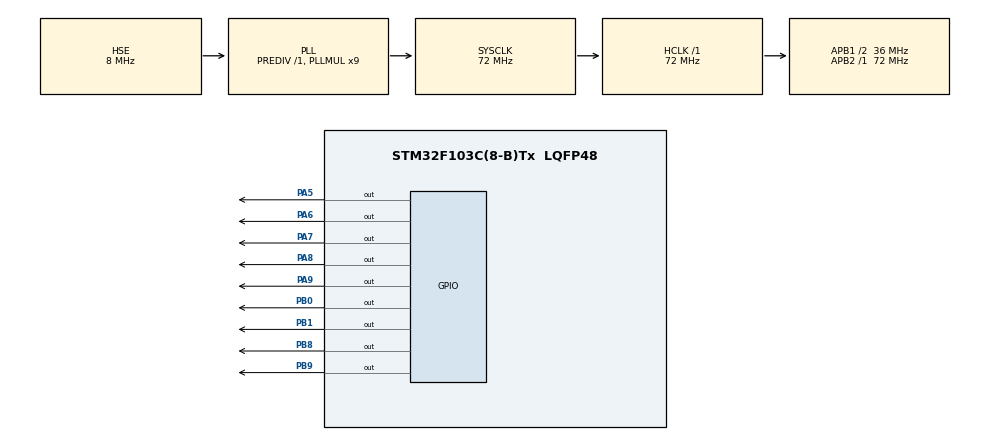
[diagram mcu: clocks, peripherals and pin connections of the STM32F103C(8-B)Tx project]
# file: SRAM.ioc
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Mcu.Family=STM32F1
Mcu.Name=STM32F103C(8-B)Tx
Mcu.Package=LQFP48
NVIC.PriorityGroup=NVIC_PRIORITYGROUP_4
PA13.Mode=Serial_Wire
PA13.Signal=SYS_JTMS-SWDIO
PA14.Mode=Serial_Wire
PA14.Signal=SYS_JTCK-SWCLK
PA5.Signal=GPIO_Output
PA6.Signal=GPIO_Output
PA7.Signal=GPIO_Output
PA8.Signal=GPIO_Output
PA9.Signal=GPIO_Output
PB0.Signal=GPIO_Output
PB1.Signal=GPIO_Output
PB8.Signal=GPIO_Output
PB9.Signal=GPIO_Output
PD0-OSC_IN.Mode=HSE-External-Oscillator
PD0-OSC_IN.Signal=RCC_OSC_IN
PD1-OSC_OUT.Mode=HSE-External-Oscillator
PD1-OSC_OUT.Signal=RCC_OSC_OUT
ProjectManager.HeapSize=0x200
ProjectManager.StackSize=0x400
ProjectManager.TargetToolchain=MDK-ARM V5
RCC.AHBFreq_Value=72000000
RCC.APB1CLKDivider=RCC_HCLK_DIV2
RCC.APB1Freq_Value=36000000
RCC.APB1TimFreq_Value=72000000
RCC.APB2Freq_Value=72000000
RCC.APB2TimFreq_Value=72000000
RCC.HCLKFreq_Value=72000000
RCC.PLLMUL=RCC_PLL_MUL9
RCC.PLLSourceVirtual=RCC_PLLSOURCE_HSE
RCC.SYSCLKFreq_VALUE=72000000
RCC.SYSCLKSource=RCC_SYSCLKSOURCE_PLLCLK
RCC.USBFreq_Value=72000000
board=custom

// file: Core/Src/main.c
/* USER CODE BEGIN Header */
/**
  ******************************************************************************
  * @file           : main.c
  * @brief          : Main program body
  ******************************************************************************
  * @attention
  *
  * Copyright (c) 2025 STMicroelectronics.
  * All rights reserved.
  *
  * This software is licensed under terms that can be found in the LICENSE file
  * in the root directory of this software component.
  * If no LICENSE file comes with this software, it is provided AS-IS.
  *
  ******************************************************************************
  */
/* USER CODE END Header */
#include "main.h"

void SystemClock_Config(void);
static void MX_GPIO_Init(void);
/* USER CODE BEGIN PFP */
uint8_t SRAM_Data_Address;
uint8_t SRAM_Read_Data;

/* USER CODE END PFP */

/* USER CODE BEGIN 0 */
void SRAM_Set_Address(uint8_t addr)
{
	HAL_GPIO_WritePin(GPIOA, GPIO_PIN_5, (addr & 0x01) ? GPIO_PIN_SET : GPIO_PIN_RESET);
  HAL_GPIO_WritePin(GPIOA, GPIO_PIN_6, (addr & 0x02) ? GPIO_PIN_SET : GPIO_PIN_RESET);
  HAL_GPIO_WritePin(GPIOA, GPIO_PIN_7, (addr & 0x04) ? GPIO_PIN_SET : GPIO_PIN_RESET);
}

//=============CHANGE GPIO TO OUTPUT=============//
void SRAM_Write_Data(uint8_t data)
{
  HAL_GPIO_WritePin(GPIOA, GPIO_PIN_11, (data & 0x01) ? GPIO_PIN_SET : GPIO_PIN_RESET);
  HAL_GPIO_WritePin(GPIOA, GPIO_PIN_12, (data & 0x02) ? GPIO_PIN_SET : GPIO_PIN_RESET);
	HAL_GPIO_WritePin(GPIOA, GPIO_PIN_13, (data & 0x02) ? GPIO_PIN_SET : GPIO_PIN_RESET);
}

void SRAM_Write_Cycle(uint8_t address, uint8_t data)
{
  SRAM_Set_Address(address);
  SRAM_Write_Data(data);

  HAL_GPIO_WritePin(GPIOB, GPIO_PIN_0, GPIO_PIN_RESET); // !WE = 0 start write
  HAL_Delay(1);
  HAL_GPIO_WritePin(GPIOB, GPIO_PIN_0, GPIO_PIN_SET);   // !WE = 1 end write
  HAL_Delay(1);
}

//=============CHANGE GPIO TO INPUT=============//
uint8_t SRAM_ReadData(void)
{
  GPIO_InitTypeDef GPIO_InitStruct = {0};

  GPIO_InitStruct.Pin = GPIO_PIN_4 | GPIO_PIN_5 | GPIO_PIN_6;
  GPIO_InitStruct.Mode = GPIO_MODE_INPUT;
  GPIO_InitStruct.Pull = GPIO_NOPULL;
  HAL_GPIO_Init(GPIOB, &GPIO_InitStruct);

  uint8_t value = 0;
  value |= HAL_GPIO_ReadPin(GPIOB, GPIO_PIN_4) ? 0x01 : 0x00;
  value |= HAL_GPIO_ReadPin(GPIOB, GPIO_PIN_5) ? 0x02 : 0x00;
  value |= HAL_GPIO_ReadPin(GPIOB, GPIO_PIN_6) ? 0x04 : 0x00;

  GPIO_InitStruct.Mode = GPIO_MODE_OUTPUT_PP;
  GPIO_InitStruct.Speed = GPIO_SPEED_FREQ_LOW;
  HAL_GPIO_Init(GPIOB, &GPIO_InitStruct);

  return value;
}

uint8_t SRAM_Read_Cycle(uint8_t address)
{
  SRAM_Set_Address(address);

  HAL_GPIO_WritePin(GPIOB, GPIO_PIN_9, GPIO_PIN_SET);
  HAL_GPIO_WritePin(GPIOB, GPIO_PIN_8, GPIO_PIN_RESET);
  HAL_Delay(1);

  uint8_t data = SRAM_ReadData();

  HAL_GPIO_WritePin(GPIOB, GPIO_PIN_8, GPIO_PIN_SET);

  return data;
}

//=============CHECK SRAM COMMUNICATION=============//
void LED_Show(uint8_t data)
{
  HAL_GPIO_WritePin(GPIOB, GPIO_PIN_8, (data & 0x01) ? GPIO_PIN_SET : GPIO_PIN_RESET);
  HAL_GPIO_WritePin(GPIOB, GPIO_PIN_9, (data & 0x02) ? GPIO_PIN_SET : GPIO_PIN_RESET);
}

/* USER CODE END 0 */

int main(void)
{

  /* MCU Configuration--------------------------------------------------------*/

  /* Reset of all peripherals, Initializes the Flash interface and the Systick. */
  HAL_Init();

  /* Configure the system clock */
  SystemClock_Config();

  /* Initialize all configured peripherals */
  MX_GPIO_Init();
  /* USER CODE BEGIN 2 */
	//=============WRITE DATA TO SRAM=============//
	for (SRAM_Data_Address = 0; SRAM_Data_Address < 8; SRAM_Data_Address++)
	{
    uint8_t data = SRAM_Data_Address & 0x03;
    SRAM_Write_Cycle(SRAM_Data_Address, data);
    HAL_Delay(100);
  }

  /* USER CODE END 2 */

  /* Infinite loop */
  /* USER CODE BEGIN WHILE */
  while (1)
  {
		//=============READ DATA FROM SRAM=============//
		for (SRAM_Data_Address = 0; SRAM_Data_Address < 8; SRAM_Data_Address++)
		{
			SRAM_Set_Address(SRAM_Data_Address);
			SRAM_Read_Data = SRAM_Read_Cycle(SRAM_Data_Address);
																																																																																																						SRAM_Read_Data = SRAM_Data_Address & 0x03;
			LED_Show(SRAM_Read_Data);

			HAL_Delay(500);
		}
    /* USER CODE END WHILE */

  }
}

void SystemClock_Config(void)
{
  RCC_OscInitTypeDef RCC_OscInitStruct = {0};
  RCC_ClkInitTypeDef RCC_ClkInitStruct = {0};

  /** Initializes the RCC Oscillators according to the specified parameters
  * in the RCC_OscInitTypeDef structure.
  */
  RCC_OscInitStruct.OscillatorType = RCC_OSCILLATORTYPE_HSE;
  RCC_OscInitStruct.HSEState = RCC_HSE_ON;
  RCC_OscInitStruct.HSEPredivValue = RCC_HSE_PREDIV_DIV1;
  RCC_OscInitStruct.HSIState = RCC_HSI_ON;
  RCC_OscInitStruct.PLL.PLLState = RCC_PLL_ON;
  RCC_OscInitStruct.PLL.PLLSource = RCC_PLLSOURCE_HSE;
  RCC_OscInitStruct.PLL.PLLMUL = RCC_PLL_MUL9;
  if (HAL_RCC_OscConfig(&RCC_OscInitStruct) != HAL_OK)
  {
    Error_Handler();
  }

  /** Initializes the CPU, AHB and APB buses clocks
  */
  RCC_ClkInitStruct.ClockType = RCC_CLOCKTYPE_HCLK|RCC_CLOCKTYPE_SYSCLK
                              |RCC_CLOCKTYPE_PCLK1|RCC_CLOCKTYPE_PCLK2;
  RCC_ClkInitStruct.SYSCLKSource = RCC_SYSCLKSOURCE_PLLCLK;
  RCC_ClkInitStruct.AHBCLKDivider = RCC_SYSCLK_DIV1;
  RCC_ClkInitStruct.APB1CLKDivider = RCC_HCLK_DIV2;
  RCC_ClkInitStruct.APB2CLKDivider = RCC_HCLK_DIV1;

  if (HAL_RCC_ClockConfig(&RCC_ClkInitStruct, FLASH_LATENCY_2) != HAL_OK)
  {
    Error_Handler();
  }
}

static void MX_GPIO_Init(void)
{
  GPIO_InitTypeDef GPIO_InitStruct = {0};

  /* GPIO Ports Clock Enable */
  __HAL_RCC_GPIOD_CLK_ENABLE();
  __HAL_RCC_GPIOA_CLK_ENABLE();
  __HAL_RCC_GPIOB_CLK_ENABLE();

  /*Configure GPIO pin Output Level */
  HAL_GPIO_WritePin(GPIOA, GPIO_PIN_5|GPIO_PIN_6|GPIO_PIN_7|GPIO_PIN_8
                          |GPIO_PIN_9, GPIO_PIN_RESET);

  /*Configure GPIO pin Output Level */
  HAL_GPIO_WritePin(GPIOB, GPIO_PIN_0|GPIO_PIN_1|GPIO_PIN_8|GPIO_PIN_9, GPIO_PIN_RESET);

  /*Configure GPIO pins : PA5 PA6 PA7 PA8
                           PA9 */
  GPIO_InitStruct.Pin = GPIO_PIN_5|GPIO_PIN_6|GPIO_PIN_7|GPIO_PIN_8
                          |GPIO_PIN_9;
  GPIO_InitStruct.Mode = GPIO_MODE_OUTPUT_PP;
  GPIO_InitStruct.Pull = GPIO_NOPULL;
  GPIO_InitStruct.Speed = GPIO_SPEED_FREQ_LOW;
  HAL_GPIO_Init(GPIOA, &GPIO_InitStruct);

  /*Configure GPIO pins : PB0 PB1 PB8 PB9 */
  GPIO_InitStruct.Pin = GPIO_PIN_0|GPIO_PIN_1|GPIO_PIN_8|GPIO_PIN_9;
  GPIO_InitStruct.Mode = GPIO_MODE_OUTPUT_PP;
  GPIO_InitStruct.Pull = GPIO_NOPULL;
  GPIO_InitStruct.Speed = GPIO_SPEED_FREQ_LOW;
  HAL_GPIO_Init(GPIOB, &GPIO_InitStruct);

}

void Error_Handler(void)
{
  __disable_irq();
  while (1)
  {
  }
}
